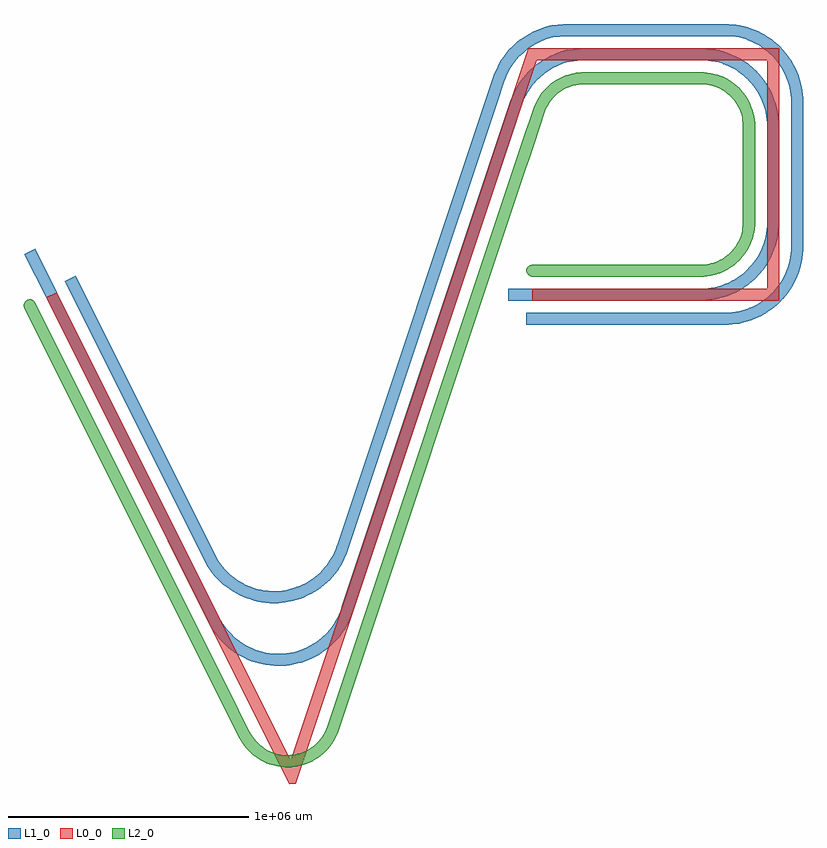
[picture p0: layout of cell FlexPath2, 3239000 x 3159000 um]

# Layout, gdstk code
import gdstk
lib = gdstk.Library(unit=1e-6, precision=1e-07)
def R(c, l, rs):  # rectangles x0, y0, x1, y1
    for r in rs: c.add(gdstk.rectangle(r[:2], r[2:], *l))
def P(c, l, *ps):  # polygons
    for p in ps: c.add(gdstk.Polygon(p, *l))
L0_0 = (0, 0)
L1_0 = (1, 0)
L2_0 = (2, 0)

flexpath2 = lib.new_cell('FlexPath2')
R(flexpath2, L0_0, [(0,-25000,1025000,25000)])
P(flexpath2, L0_0, [(-984000,-2032000),(-299000,25000),(-351000,25000),(-1005000,-1935000),(-1978000,11000),(-2022000,-11000),(-1011000,-2034000)],
  [(1025000,1025000),(-18000,1025000),(-351000,25000),(-299000,25000),(18000,975000),(975000,975000),(975000,25000),(1025000,25000)])
R(flexpath2, L1_0, [(-25000,-125000,2000,-75000), (2000,-125000,70000,-75000), (70000,-125000,144000,-75000), (144000,-125000,816000,-75000), (-100000,-25000,-87000,25000), (-87000,-25000,-28000,25000), (-28000,-25000,7000,25000), (7000,-25000,74000,25000), (74000,-25000,142000,25000), (142000,-25000,216000,25000), (216000,-25000,716000,25000), (216000,975000,716000,1025000), (144000,1075000,816000,1125000)])
P(flexpath2, L1_0, [(-1320000,-1080000),(-1899000,78000),(-1944000,56000),(-1933000,34000),(-1365000,-1103000),(-1349000,-1131000),(-1340000,-1145000),(-1330000,-1158000),(-1320000,-1170000)],
  [(-1269000,-1152000),(-1279000,-1141000),(-1288000,-1130000),(-1306000,-1106000),(-1320000,-1080000),(-1320000,-1170000),(-1309000,-1182000),(-1297000,-1194000),(-1285000,-1205000),(-1269000,-1217000)],
  [(-1055000,-1232000),(-1084000,-1232000),(-1099000,-1231000),(-1113000,-1230000),(-1128000,-1227000),(-1128000,-1278000),(-1124000,-1279000),(-1108000,-1281000),(-1092000,-1282000),(-1055000,-1282000)],
  [(-1043000,-1281000),(-1027000,-1279000),(-995000,-1273000),(-979000,-1268000),(-979000,-1215000),(-983000,-1217000),(-1011000,-1225000),(-1025000,-1228000),(-1055000,-1232000),(-1055000,-1282000)],
  [(-801000,-1133000),(-792000,-1120000),(-771000,-1075000),(-145000,803000),(-145000,948000),(-159000,918000),(-810000,-1035000),(-810000,-1147000)],
  [(-84000,954000),(-66000,978000),(-56000,989000),(-39000,1004000),(-39000,1068000),(-52000,1059000),(-65000,1049000),(-89000,1027000),(-92000,1024000),(-92000,941000)],
  [(-23000,1019000),(-11000,1027000),(2000,1035000),(2000,1092000),(-12000,1085000),(-26000,1077000),(-39000,1068000),(-39000,1004000)],
  [(15000,1043000),(28000,1049000),(56000,1061000),(70000,1065000),(70000,1117000),(48000,1111000),(3000,1093000),(2000,1092000),(2000,1035000)],
  [(85000,1069000),(100000,1071000),(114000,1073000),(129000,1075000),(144000,1075000),(144000,1125000),(128000,1125000),(80000,1119000),(70000,1117000),(70000,1065000)],
  [(859000,1069000),(859000,1120000),(848000,1121000),(816000,1125000),(816000,1075000),(844000,1071000)],
  [(816000,-125000),(848000,-121000),(859000,-120000),(859000,-69000),(844000,-71000),(816000,-75000)],
  [(859000,1069000),(874000,1065000),(888000,1061000),(894000,1058000),(894000,1111000),(879000,1115000),(859000,1120000)],
  [(894000,-111000),(894000,-58000),(888000,-61000),(874000,-65000),(859000,-69000),(859000,-120000),(879000,-115000)],
  [(929000,1098000),(909000,1106000),(894000,1111000),(894000,1058000),(902000,1055000),(915000,1050000),(929000,1043000)],
  [(909000,-106000),(929000,-98000),(929000,-43000),(915000,-50000),(902000,-55000),(894000,-58000),(894000,-111000)],
  [(966000,1080000),(953000,1087000),(939000,1094000),(929000,1098000),(929000,1043000),(942000,1036000),(954000,1028000),(966000,1019000)],
  [(939000,-94000),(953000,-87000),(966000,-80000),(966000,-19000),(954000,-28000),(942000,-36000),(929000,-43000),(929000,-98000)],
  [(994000,1061000),(981000,1070000),(967000,1079000),(966000,1080000),(966000,1019000),(978000,1010000),(989000,1000000),(994000,995000)],
  [(967000,-79000),(981000,-70000),(994000,-61000),(994000,5000),(989000,0),(978000,-10000),(966000,-19000),(966000,-80000)],
  [(1019000,1040000),(1018000,1041000),(994000,1061000),(994000,995000),(1000000,989000),(1010000,978000),(1019000,966000)],
  [(1018000,-41000),(1019000,-40000),(1019000,34000),(1010000,22000),(1000000,11000),(994000,5000),(994000,-61000)],
  [(1043000,1016000),(1041000,1018000),(1030000,1030000),(1019000,1040000),(1019000,966000),(1028000,954000),(1036000,942000),(1043000,929000)],
  [(1030000,-30000),(1041000,-18000),(1043000,-16000),(1043000,71000),(1036000,58000),(1028000,46000),(1019000,34000),(1019000,-40000)],
  [(1043000,1016000),(1043000,929000),(1050000,915000),(1055000,902000),(1061000,888000),(1061000,994000)],
  [(1061000,6000),(1061000,112000),(1055000,98000),(1050000,85000),(1043000,71000),(1043000,-16000)],
  [(1073000,976000),(1070000,981000),(1061000,994000),(1061000,887000),(1065000,874000),(1069000,859000),(1071000,844000),(1073000,830000)],
  [(1070000,19000),(1073000,24000),(1073000,170000),(1071000,156000),(1069000,141000),(1065000,126000),(1061000,112000),(1061000,6000)],
  [(1106000,91000),(1111000,106000),(1115000,121000),(1119000,137000),(1119000,863000),(1115000,879000),(1111000,894000),(1106000,909000),(1094000,939000),(1094000,61000)],
  [(1121000,152000),(1125000,184000),(1125000,816000),(1121000,848000),(1119000,863000),(1119000,137000)],
  [(-1202000,-1200000),(-1269000,-1200000),(-1269000,-1217000),(-1259000,-1225000),(-1246000,-1233000),(-1231000,-1242000),(-1217000,-1249000),(-1202000,-1256000)],
  [(-1223000,-1189000),(-1247000,-1171000),(-1258000,-1162000),(-1269000,-1152000),(-1269000,-1200000),(-1202000,-1200000)],
  [(-1128000,-1227000),(-1142000,-1224000),(-1202000,-1224000),(-1202000,-1256000),(-1187000,-1262000),(-1172000,-1267000),(-1156000,-1272000),(-1140000,-1276000),(-1128000,-1278000)],
  [(-1156000,-1220000),(-1170000,-1215000),(-1184000,-1209000),(-1197000,-1203000),(-1202000,-1200000),(-1202000,-1224000),(-1142000,-1224000)],
  [(-964000,-1263000),(-948000,-1257000),(-934000,-1250000),(-919000,-1243000),(-905000,-1235000),(-905000,-1211000),(-969000,-1211000),(-979000,-1215000),(-979000,-1268000)],
  [(-905000,-1175000),(-917000,-1183000),(-930000,-1191000),(-942000,-1199000),(-956000,-1206000),(-969000,-1211000),(-905000,-1211000)],
  [(-891000,-1226000),(-878000,-1217000),(-865000,-1206000),(-853000,-1196000),(-853000,-1155000),(-883000,-1155000),(-905000,-1175000),(-905000,-1235000)],
  [(-853000,-1121000),(-854000,-1122000),(-863000,-1134000),(-873000,-1145000),(-883000,-1155000),(-853000,-1155000)],
  [(-841000,-1184000),(-830000,-1172000),(-820000,-1160000),(-810000,-1147000),(-810000,-1098000),(-838000,-1098000),(-853000,-1121000),(-853000,-1196000)],
  [(-810000,-1035000),(-813000,-1044000),(-818000,-1058000),(-824000,-1072000),(-830000,-1085000),(-838000,-1098000),(-810000,-1098000)],
  [(-117000,887000),(-112000,901000),(-106000,915000),(-92000,941000),(-92000,962000),(-138000,962000),(-145000,948000),(-145000,803000)],
  [(-92000,1024000),(-100000,1015000),(-120000,989000),(-129000,976000),(-138000,962000),(-92000,962000)],
  [(1079000,33000),(1087000,47000),(1094000,61000),(1094000,815000),(1075000,815000),(1075000,185000),(1073000,170000),(1073000,24000)],
  [(1094000,939000),(1087000,953000),(1079000,967000),(1073000,976000),(1073000,830000),(1075000,815000),(1094000,815000)],
  [(-2067000,190000),(-2112000,168000),(-2022000,-11000),(-1346000,-1363000),(-1339000,-1378000),(-1330000,-1392000),(-1321000,-1405000),(-1301000,-1431000),(-1301000,-1343000),(-1978000,11000)],
  [(-886000,-1496000),(-873000,-1487000),(-847000,-1467000),(-835000,-1456000),(-835000,-1383000),(-845000,-1394000),(-854000,-1406000),(-876000,-1426000),(-887000,-1435000),(-887000,-1497000)],
  [(-782000,-1394000),(-766000,-1366000),(-759000,-1351000),(-747000,-1321000),(-87000,661000),(-87000,818000),(-92000,803000),(-792000,-1296000),(-792000,-1408000)],
  [(-20000,841000),(-12000,854000),(6000,878000),(7000,879000),(7000,949000),(-17000,927000),(-28000,915000),(-28000,826000)],
  [(16000,889000),(49000,919000),(62000,927000),(74000,935000),(74000,992000),(61000,985000),(46000,977000),(20000,959000),(7000,949000),(7000,879000)],
  [(87000,943000),(100000,949000),(128000,961000),(142000,965000),(142000,1017000),(120000,1011000),(75000,993000),(74000,992000),(74000,935000)],
  [(157000,969000),(172000,971000),(186000,973000),(201000,975000),(216000,975000),(216000,1025000),(200000,1025000),(152000,1019000),(142000,1017000),(142000,965000)],
  [(759000,969000),(759000,1020000),(748000,1021000),(716000,1025000),(716000,975000),(744000,971000)],
  [(716000,-25000),(748000,-21000),(759000,-20000),(759000,31000),(744000,29000),(716000,25000)],
  [(759000,969000),(774000,965000),(788000,961000),(794000,958000),(794000,1011000),(779000,1015000),(759000,1020000)],
  [(794000,-11000),(794000,42000),(788000,39000),(774000,35000),(759000,31000),(759000,-20000),(779000,-15000)],
  [(829000,998000),(809000,1006000),(794000,1011000),(794000,958000),(802000,955000),(815000,950000),(829000,943000)],
  [(809000,-6000),(829000,2000),(829000,57000),(815000,50000),(802000,45000),(794000,42000),(794000,-11000)],
  [(866000,980000),(853000,987000),(839000,994000),(829000,998000),(829000,943000),(842000,936000),(854000,928000),(866000,919000)],
  [(839000,6000),(853000,13000),(866000,20000),(866000,81000),(854000,72000),(842000,64000),(829000,57000),(829000,2000)],
  [(894000,961000),(881000,970000),(867000,979000),(866000,980000),(866000,919000),(878000,910000),(889000,900000),(894000,895000)],
  [(867000,21000),(881000,30000),(894000,39000),(894000,105000),(889000,100000),(878000,90000),(866000,81000),(866000,20000)],
  [(919000,940000),(918000,941000),(894000,961000),(894000,895000),(900000,889000),(910000,878000),(919000,866000)],
  [(918000,59000),(919000,60000),(919000,134000),(910000,122000),(900000,111000),(894000,105000),(894000,39000)],
  [(943000,916000),(941000,918000),(930000,930000),(919000,940000),(919000,866000),(928000,854000),(936000,842000),(943000,829000)],
  [(930000,70000),(941000,82000),(943000,84000),(943000,171000),(936000,158000),(928000,146000),(919000,134000),(919000,60000)],
  [(943000,916000),(943000,829000),(950000,815000),(955000,802000),(961000,788000),(961000,894000)],
  [(961000,106000),(961000,212000),(955000,198000),(950000,185000),(943000,171000),(943000,84000)],
  [(973000,876000),(970000,881000),(961000,894000),(961000,787000),(965000,774000),(969000,759000),(971000,744000),(973000,730000)],
  [(970000,119000),(973000,124000),(973000,270000),(971000,256000),(969000,241000),(965000,226000),(961000,212000),(961000,106000)],
  [(1006000,191000),(1011000,206000),(1015000,221000),(1019000,237000),(1019000,763000),(1015000,779000),(1011000,794000),(1006000,809000),(994000,839000),(994000,161000)],
  [(1021000,252000),(1025000,284000),(1025000,716000),(1021000,748000),(1019000,763000),(1019000,237000)],
  [(-1250000,-1412000),(-1260000,-1402000),(-1301000,-1402000),(-1301000,-1431000),(-1290000,-1443000),(-1279000,-1454000),(-1266000,-1465000),(-1254000,-1476000),(-1250000,-1479000)],
  [(-1270000,-1390000),(-1279000,-1379000),(-1287000,-1367000),(-1295000,-1354000),(-1301000,-1343000),(-1301000,-1402000),(-1260000,-1402000)],
  [(-1184000,-1461000),(-1192000,-1457000),(-1250000,-1457000),(-1250000,-1479000),(-1241000,-1485000),(-1227000,-1494000),(-1199000,-1510000),(-1184000,-1517000)],
  [(-1204000,-1449000),(-1217000,-1441000),(-1239000,-1423000),(-1250000,-1412000),(-1250000,-1457000),(-1192000,-1457000)],
  [(-1109000,-1488000),(-1124000,-1484000),(-1184000,-1484000),(-1184000,-1517000),(-1169000,-1523000),(-1153000,-1528000),(-1138000,-1533000),(-1109000,-1538000)],
  [(-1152000,-1476000),(-1165000,-1470000),(-1179000,-1464000),(-1184000,-1461000),(-1184000,-1484000),(-1124000,-1484000)],
  [(-1073000,-1493000),(-1080000,-1492000),(-1095000,-1490000),(-1109000,-1488000),(-1109000,-1538000),(-1106000,-1539000),(-1089000,-1541000),(-1073000,-1543000)],
  [(-1073000,-1543000),(-1036000,-1543000),(-1036000,-1492000),(-1051000,-1493000),(-1073000,-1493000)],
  [(-1024000,-1542000),(-1008000,-1540000),(-992000,-1537000),(-992000,-1486000),(-1007000,-1489000),(-1021000,-1491000),(-1036000,-1492000),(-1036000,-1543000)],
  [(-976000,-1533000),(-961000,-1529000),(-961000,-1476000),(-978000,-1482000),(-992000,-1486000),(-992000,-1537000)],
  [(-945000,-1524000),(-930000,-1518000),(-915000,-1511000),(-887000,-1497000),(-887000,-1472000),(-950000,-1472000),(-961000,-1476000),(-961000,-1529000)],
  [(-887000,-1435000),(-899000,-1444000),(-911000,-1452000),(-937000,-1466000),(-950000,-1472000),(-887000,-1472000)],
  [(-823000,-1445000),(-801000,-1421000),(-792000,-1408000),(-792000,-1358000),(-819000,-1358000),(-827000,-1371000),(-835000,-1383000),(-835000,-1456000)],
  [(-792000,-1296000),(-795000,-1305000),(-800000,-1319000),(-805000,-1332000),(-812000,-1346000),(-819000,-1358000),(-792000,-1358000)],
  [(-45000,787000),(-40000,801000),(-34000,815000),(-28000,826000),(-28000,848000),(-73000,848000),(-87000,818000),(-87000,661000)],
  [(-28000,915000),(-48000,889000),(-57000,876000),(-66000,862000),(-73000,848000),(-28000,848000)],
  [(979000,133000),(987000,147000),(994000,161000),(994000,715000),(975000,715000),(975000,285000),(973000,270000),(973000,124000)],
  [(994000,839000),(987000,853000),(979000,867000),(973000,876000),(973000,730000),(975000,715000),(994000,715000)])
R(flexpath2, L2_0, [(7000,75000,59000,125000), (59000,75000,101000,125000), (101000,75000,150000,125000), (150000,75000,216000,125000), (216000,75000,714000,125000), (216000,875000,714000,925000)])
P(flexpath2, L2_0, [(-2097000,-21000),(-2101000,-22000),(-2104000,-25000),(-2108000,-28000),(-2110000,-31000),(-2114000,-39000),(-2114000,-48000),(-2112000,-56000),(-2097000,-86000)],
  [(-1220000,-1728000),(-2069000,-30000),(-2072000,-27000),(-2076000,-24000),(-2084000,-20000),(-2092000,-20000),(-2097000,-21000),(-2097000,-86000),(-1220000,-1840000)],
  [(-1113000,-1887000),(-1122000,-1880000),(-1132000,-1873000),(-1149000,-1856000),(-1163000,-1838000),(-1163000,-1912000),(-1141000,-1928000),(-1130000,-1935000),(-1113000,-1944000)],
  [(-1059000,-1910000),(-1070000,-1907000),(-1081000,-1903000),(-1103000,-1893000),(-1113000,-1887000),(-1113000,-1944000),(-1106000,-1947000),(-1094000,-1951000),(-1068000,-1959000),(-1059000,-1960000)],
  [(-1000000,-1913000),(-1012000,-1914000),(-1036000,-1914000),(-1047000,-1912000),(-1059000,-1910000),(-1059000,-1960000),(-1042000,-1963000),(-1029000,-1964000),(-1000000,-1964000)],
  [(-16000,557000),(-16000,714000),(-25000,687000),(-25000,530000)],
  [(-16000,119000),(-22000,113000),(-23000,109000),(-25000,104000),(-25000,96000),(-23000,91000),(-22000,88000),(-19000,84000),(-16000,81000)],
  [(7000,626000),(7000,784000),(3000,771000),(-16000,714000),(-16000,557000)],
  [(-4000,125000),(-9000,123000),(-12000,122000),(-16000,119000),(-16000,81000),(-12000,78000),(-9000,77000),(-4000,75000),(7000,75000),(7000,125000)],
  [(54000,767000),(59000,778000),(59000,861000),(41000,841000),(33000,831000),(26000,819000),(19000,808000),(7000,784000),(7000,626000)],
  [(65000,788000),(72000,799000),(79000,808000),(87000,818000),(101000,832000),(101000,894000),(90000,886000),(79000,879000),(59000,861000),(59000,778000)],
  [(104000,835000),(124000,849000),(135000,855000),(145000,860000),(150000,862000),(150000,915000),(138000,911000),(125000,906000),(101000,894000),(101000,832000)],
  [(741000,921000),(727000,923000),(714000,925000),(714000,875000),(736000,871000),(741000,870000)],
  [(727000,77000),(741000,79000),(741000,130000),(736000,129000),(714000,125000),(714000,75000)],
  [(770000,914000),(767000,915000),(741000,921000),(741000,870000),(747000,869000),(759000,865000),(770000,861000)],
  [(767000,85000),(770000,86000),(770000,139000),(759000,135000),(747000,131000),(741000,130000),(741000,79000)],
  [(801000,901000),(792000,905000),(780000,910000),(770000,914000),(770000,861000),(781000,855000),(791000,850000),(801000,843000)],
  [(780000,90000),(792000,95000),(801000,99000),(801000,157000),(791000,150000),(781000,145000),(770000,139000),(770000,86000)],
  [(828000,885000),(816000,893000),(805000,899000),(801000,901000),(801000,843000),(810000,836000),(819000,828000),(828000,819000)],
  [(805000,101000),(816000,107000),(828000,115000),(828000,181000),(819000,172000),(810000,164000),(801000,157000),(801000,99000)],
  [(849000,868000),(839000,877000),(828000,885000),(828000,819000),(836000,810000),(843000,801000),(849000,792000)],
  [(839000,123000),(849000,132000),(849000,208000),(843000,199000),(836000,190000),(828000,181000),(828000,115000)],
  [(861000,857000),(859000,859000),(849000,868000),(849000,792000),(850000,791000),(855000,781000),(861000,770000)],
  [(859000,141000),(861000,143000),(861000,230000),(855000,219000),(850000,209000),(849000,208000),(849000,132000)],
  [(873000,843000),(861000,857000),(861000,770000),(865000,759000),(869000,747000),(871000,736000),(873000,724000)],
  [(873000,157000),(873000,276000),(871000,264000),(869000,253000),(865000,241000),(861000,230000),(861000,143000)],
  [(921000,259000),(923000,273000),(925000,286000),(925000,714000),(923000,727000),(921000,741000),(918000,754000),(918000,246000)],
  [(-1163000,-1852000),(-1213000,-1852000),(-1207000,-1863000),(-1199000,-1874000),(-1191000,-1884000),(-1182000,-1894000),(-1173000,-1903000),(-1163000,-1912000)],
  [(-1163000,-1838000),(-1175000,-1818000),(-1220000,-1728000),(-1220000,-1840000),(-1213000,-1852000),(-1163000,-1852000)],
  [(-989000,-1962000),(-976000,-1960000),(-963000,-1957000),(-951000,-1954000),(-944000,-1951000),(-944000,-1913000),(-1000000,-1913000),(-1000000,-1964000)],
  [(-944000,-1898000),(-966000,-1906000),(-977000,-1909000),(-989000,-1912000),(-1000000,-1913000),(-944000,-1913000)],
  [(-938000,-1949000),(-914000,-1939000),(-902000,-1932000),(-891000,-1925000),(-891000,-1892000),(-933000,-1892000),(-944000,-1898000),(-944000,-1951000)],
  [(-891000,-1858000),(-896000,-1864000),(-904000,-1872000),(-914000,-1879000),(-923000,-1886000),(-933000,-1892000),(-891000,-1892000)],
  [(-881000,-1917000),(-870000,-1909000),(-853000,-1892000),(-853000,-1837000),(-873000,-1837000),(-880000,-1846000),(-891000,-1858000),(-891000,-1925000)],
  [(-853000,-1795000),(-857000,-1806000),(-861000,-1816000),(-867000,-1827000),(-873000,-1837000),(-853000,-1837000)],
  [(-851000,-1890000),(-843000,-1880000),(-835000,-1869000),(-821000,-1847000),(-815000,-1835000),(-810000,-1823000),(-853000,-1823000),(-853000,-1892000)],
  [(-805000,-1810000),(-25000,530000),(-25000,687000),(-853000,-1795000),(-853000,-1823000),(-810000,-1823000)],
  [(157000,865000),(168000,868000),(180000,871000),(180000,922000),(176000,921000),(163000,919000),(150000,915000),(150000,862000)],
  [(204000,875000),(216000,875000),(216000,925000),(203000,925000),(190000,923000),(180000,922000),(180000,871000)],
  [(877000,161000),(885000,172000),(893000,184000),(893000,712000),(875000,712000),(875000,288000),(873000,276000),(873000,157000)],
  [(893000,816000),(885000,828000),(877000,839000),(873000,843000),(873000,724000),(875000,712000),(893000,712000)],
  [(899000,195000),(905000,208000),(910000,220000),(915000,233000),(918000,246000),(918000,754000),(893000,754000),(893000,184000)],
  [(915000,767000),(910000,780000),(905000,792000),(899000,805000),(893000,816000),(893000,754000),(918000,754000)])

lib.write_gds('FlexPath2.gds')
